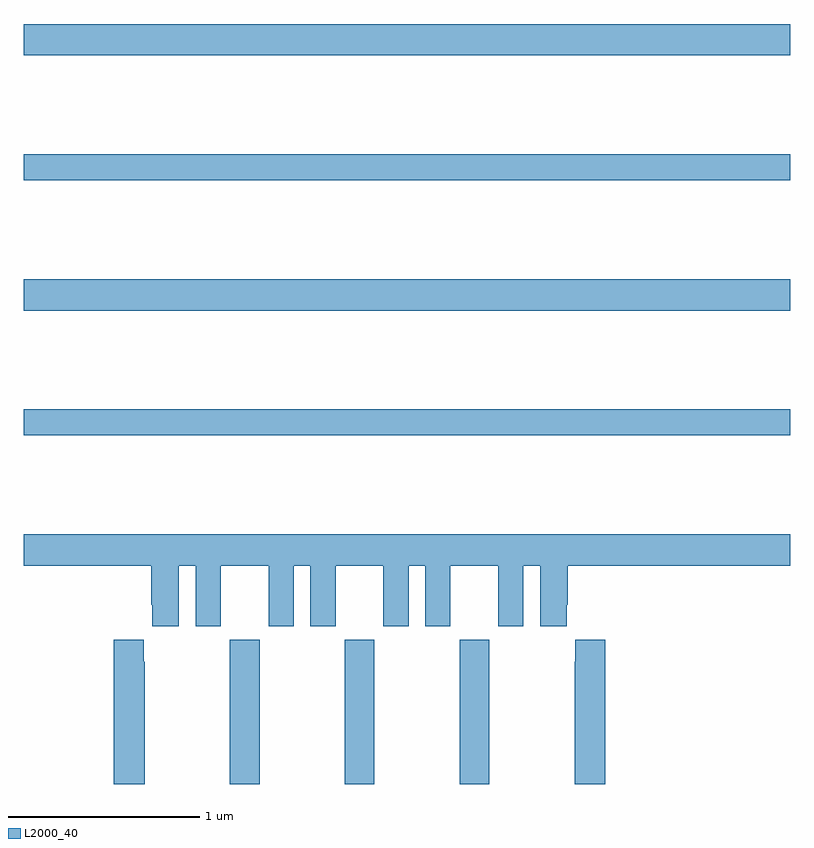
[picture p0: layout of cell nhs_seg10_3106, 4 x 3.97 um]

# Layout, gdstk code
import gdstk
lib = gdstk.Library(unit=1e-6, precision=1e-09)
def R(c, l, rs):  # rectangles x0, y0, x1, y1
    for r in rs: c.add(gdstk.rectangle(r[:2], r[2:], *l))
def A(c, l, x, y, w, h, nx, ny, dx, dy):  # array of equal rectangles
    R(c, l, [(x+i*dx, y+j*dy, x+i*dx+w, y+j*dy+h) for i in range(nx) for j in range(ny)])
def P(c, l, *ps):  # polygons
    for p in ps: c.add(gdstk.Polygon(p, *l))
L2000_40 = (2000, 40)

nhs_seg10_3106 = lib.new_cell('nhs_seg10_3106')
A(nhs_seg10_3106, L2000_40, 280.075, 1308.5, 0.155, 0.752, 3, 1, 0.6, 0)
R(nhs_seg10_3106, L2000_40, [(279,1310.32,283,1310.456), (279,1310.972,283,1311.136), (279,1311.652,283,1311.788), (279,1312.304,283,1312.468)])
P(nhs_seg10_3106, L2000_40, [(279.808,1309.64),(279.896,1309.64),(279.896,1309.323),(280.027,1309.323),(280.027,1309.64),(280.277,1309.64),(280.277,1309.323),(280.408,1309.323),(280.408,1309.64),(280.496,1309.64),(280.496,1309.323),(280.627,1309.323),(280.627,1309.64),(280.877,1309.64),(280.877,1309.323),(281.008,1309.323),(281.008,1309.64),(281.096,1309.64),(281.096,1309.323),(281.227,1309.323),(281.227,1309.64),(281.477,1309.64),(281.477,1309.323),(281.608,1309.323),(281.608,1309.64),(281.696,1309.64),(281.696,1309.323),(281.833,1309.323),(281.833,1309.435),(281.84,1309.435),(281.84,1309.64),(283,1309.64),(283,1309.804),(279,1309.804),(279,1309.64),(279.665,1309.64),(279.665,1309.435),(279.671,1309.435),(279.671,1309.323),(279.808,1309.323)],
  [(279.63,1309.139),(279.625,1309.139),(279.625,1309.252),(279.47,1309.252),(279.47,1308.5),(279.63,1308.5)],
  [(282.035,1309.252),(281.879,1309.252),(281.879,1309.139),(281.875,1309.139),(281.875,1308.5),(282.035,1308.5)])

lib.write_gds('nhs_seg10_3106.gds')
